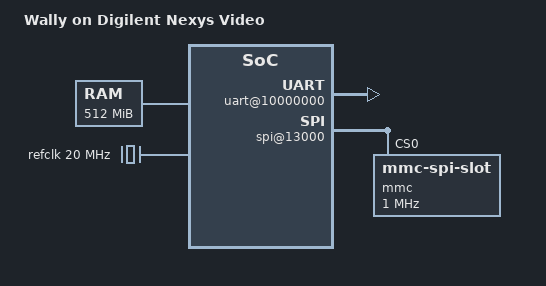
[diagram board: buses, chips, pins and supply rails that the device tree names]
// SPDX-License-Identifier: Apache-2.0 WITH SHL-2.1
// Wally on Nexys Video: 20 MHz CPU/timebase/UART, 512 MiB DDR3.
// Based on wally-artya7.dts; peripheral addresses and ISA match the fpga derivative.
/dts-v1/;

/ {
  #address-cells = <0x02>;
  #size-cells = <0x02>;
  compatible = "openhwgroup,wally-nexys-video", "wally-virt";
  model = "Wally on Digilent Nexys Video";

  chosen {
    bootargs = "console=ttyS0,115200 loglevel=7";
    stdout-path = "/soc/uart@10000000";
  };

  memory@80000000 {
    device_type = "memory";
    reg = <0x00 0x80000000 0x00 0x20000000>;
  };

  cpus {
    #address-cells = <0x01>;
    #size-cells = <0x00>;
    timebase-frequency = <20000000>;

    cpu@0 {
      device_type = "cpu";
      clock-frequency = <20000000>;
      reg = <0x00>;
      status = "okay";
      compatible = "riscv";
      riscv,isa-base = "rv64i";
      riscv,isa-extensions = "i", "m", "a", "f", "d", "c", "sstc",
        "svade", "svadu", "svinval", "svnapot", "svpbmt", "zba", "zbb", "zbc",
        "zbs", "zca", "zcb", "zcd", "zfa", "zfh", "zkn", "zkt", "zicbom", "zicboz", "zicntr",
        "zicond", "zicsr", "zifencei", "zihpm";
      riscv,cboz-block-size = <64>;
      riscv,cbom-block-size = <64>;
      mmu-type = "riscv,sv48";

      cpu_intc: interrupt-controller {
        #interrupt-cells = <0x01>;
        interrupt-controller;
        compatible = "riscv,cpu-intc";
        #address-cells = <0>;
      };
    };
  };

  refclk: refclk {
    #clock-cells = <0>;
    compatible = "fixed-clock";
    clock-frequency = <20000000>;
    clock-output-names = "xtal";
  };

  soc {
    #address-cells = <0x02>;
    #size-cells = <0x02>;
    compatible = "simple-bus";
    ranges;

    gpio0: gpio@10060000 {
      compatible = "sifive,gpio0";
      interrupt-parent = <&plic>;
      interrupts = <3>;
      reg = <0x00 0x10060000 0x00 0x1000>;
      reg-names = "control";
      gpio-controller;
      #gpio-cells = <2>;
      #address-cells = <0>;
      interrupt-controller;
      #interrupt-cells = <2>;
    };

    uart@10000000 {
      interrupts = <0x0a>;
      interrupt-parent = <&plic>;
      clock-frequency = <20000000>;
      reg = <0x00 0x10000000 0x00 0x100>;
      compatible = "ns16550a";
    };

    plic: plic@c000000 {
      riscv,ndev = <0x35>;
      reg = <0x00 0xc000000 0x00 0x210000>;
      interrupts-extended = <&cpu_intc 11 &cpu_intc 9>;
      interrupt-controller;
      compatible = "sifive,plic-1.0.0", "riscv,plic0";
      #interrupt-cells = <0x01>;
      #address-cells = <0x00>;
    };

    spi@13000 {
      compatible = "sifive,spi0";
      interrupt-parent = <&plic>;
      interrupts = <0x14>;
      reg = <0x0 0x13000 0x0 0x1000>;
      reg-names = "control";
      clocks = <&refclk>;

      #address-cells = <1>;
      #size-cells = <0>;
      mmc@0 {
        compatible = "mmc-spi-slot";
        reg = <0>;
        spi-max-frequency = <1000000>;
        voltage-ranges = <3300 3300>;
        disable-wp;
        // Use SPI polling; GPIO bit 8 also exposes the active-low card detect pin.
      };
    };

    clint@2000000 {
      interrupts-extended = <&cpu_intc 3 &cpu_intc 7>;
      reg = <0x00 0x2000000 0x00 0x10000>;
      compatible = "sifive,clint0", "riscv,clint0";
    };
  };
};
